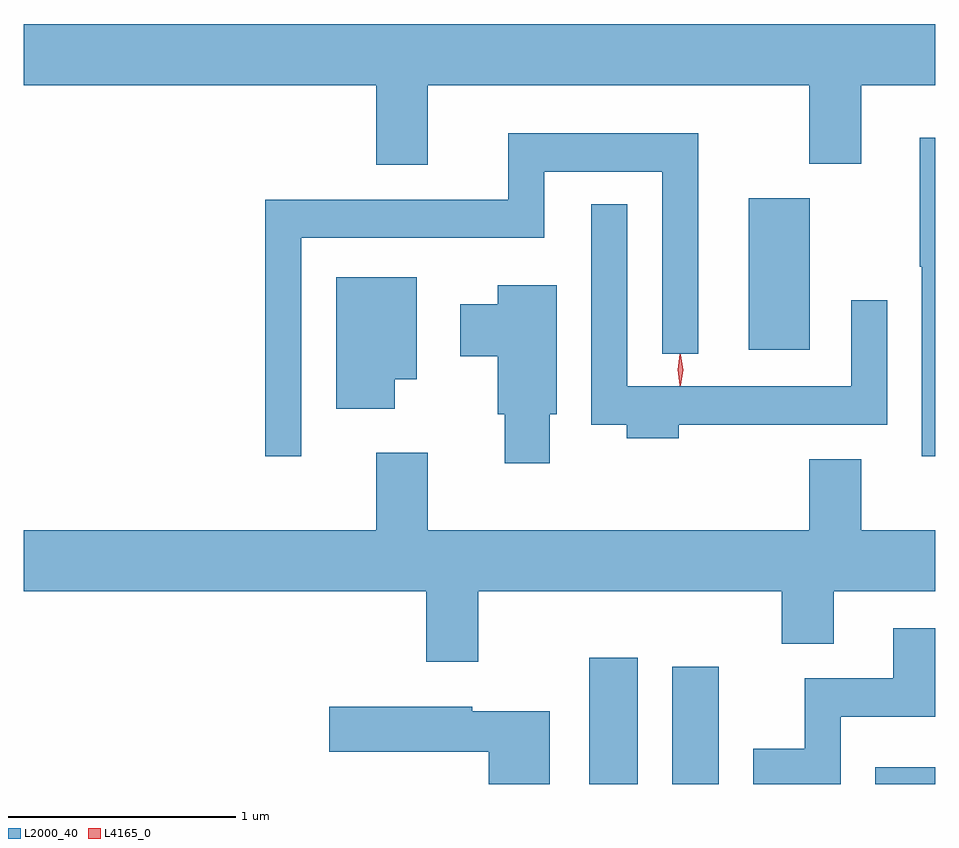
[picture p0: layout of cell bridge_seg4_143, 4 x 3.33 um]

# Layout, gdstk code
import gdstk
lib = gdstk.Library(unit=1e-6, precision=1e-09)
def R(c, l, rs):  # rectangles x0, y0, x1, y1
    for r in rs: c.add(gdstk.rectangle(r[:2], r[2:], *l))
def P(c, l, *ps):  # polygons
    for p in ps: c.add(gdstk.Polygon(p, *l))
L2000_40 = (2000, 40)
L4165_0 = (4165, 0)

bridge_seg4_143 = lib.new_cell('bridge_seg4_143')
R(bridge_seg4_143, L2000_40, [(877.596,1271.69,877.809,1272.244), (877.961,1271.69,878.164,1272.204), (878.851,1271.69,879.115,1271.764), (878.296,1273.596,878.564,1274.259)])
P(bridge_seg4_143, L2000_40, [(876.889,1274.756),(878.561,1274.756),(878.561,1274.411),(878.789,1274.411),(878.789,1274.756),(879.115,1274.756),(879.115,1275.024),(875.115,1275.024),(875.115,1274.756),(876.661,1274.756),(876.661,1274.406),(876.889,1274.406)],
  [(876.334,1274.086),(877.399,1274.086),(877.399,1274.376),(877.916,1274.376),(877.916,1273.578),(878.074,1273.578),(878.074,1274.544),(877.241,1274.544),(877.241,1274.254),(876.176,1274.254),(876.176,1273.128),(876.334,1273.128)],
  [(879.115,1274.524),(879.046,1274.524),(879.046,1273.96),(879.056,1273.96),(879.056,1273.128),(879.115,1273.128)],
  [(877.989,1273.266),(878.904,1273.266),(878.904,1273.813),(878.746,1273.813),(878.746,1273.434),(877.764,1273.434),(877.764,1274.233),(877.606,1274.233),(877.606,1273.266),(877.761,1273.266),(877.761,1273.206),(877.989,1273.206)],
  [(876.744,1273.466),(876.839,1273.466),(876.839,1273.914),(876.486,1273.914),(876.486,1273.336),(876.744,1273.336)],
  [(877.424,1273.311),(877.454,1273.311),(877.454,1273.879),(877.196,1273.879),(877.196,1273.794),(877.031,1273.794),(877.031,1273.566),(877.196,1273.566),(877.196,1273.311),(877.226,1273.311),(877.226,1273.096),(877.424,1273.096)],
  [(877.109,1272.536),(878.441,1272.536),(878.441,1272.306),(878.669,1272.306),(878.669,1272.536),(879.115,1272.536),(879.115,1272.804),(878.789,1272.804),(878.789,1273.114),(878.561,1273.114),(878.561,1272.804),(876.889,1272.804),(876.889,1273.144),(876.661,1273.144),(876.661,1272.804),(875.115,1272.804),(875.115,1272.536),(876.881,1272.536),(876.881,1272.226),(877.109,1272.226)],
  [(878.699,1271.986),(879.115,1271.986),(879.115,1272.374),(878.931,1272.374),(878.931,1272.154),(878.541,1272.154),(878.541,1271.844),(878.316,1271.844),(878.316,1271.69),(878.699,1271.69)],
  [(877.424,1272.009),(877.084,1272.009),(877.084,1272.029),(876.456,1272.029),(876.456,1271.831),(877.156,1271.831),(877.156,1271.69),(877.424,1271.69)])
P(bridge_seg4_143, L4165_0, [(877.998,1273.439),(877.997,1273.44),(877.988,1273.506),(877.997,1273.572),(877.998,1273.573),(877.998,1273.572),(878.008,1273.506),(877.998,1273.44)],
  [(877.994,1273.437),(877.985,1273.507),(877.994,1273.576),(877.995,1273.576),(877.995,1273.576),(878.005,1273.507),(877.995,1273.437),(877.995,1273.437)])

lib.write_gds('bridge_seg4_143.gds')
